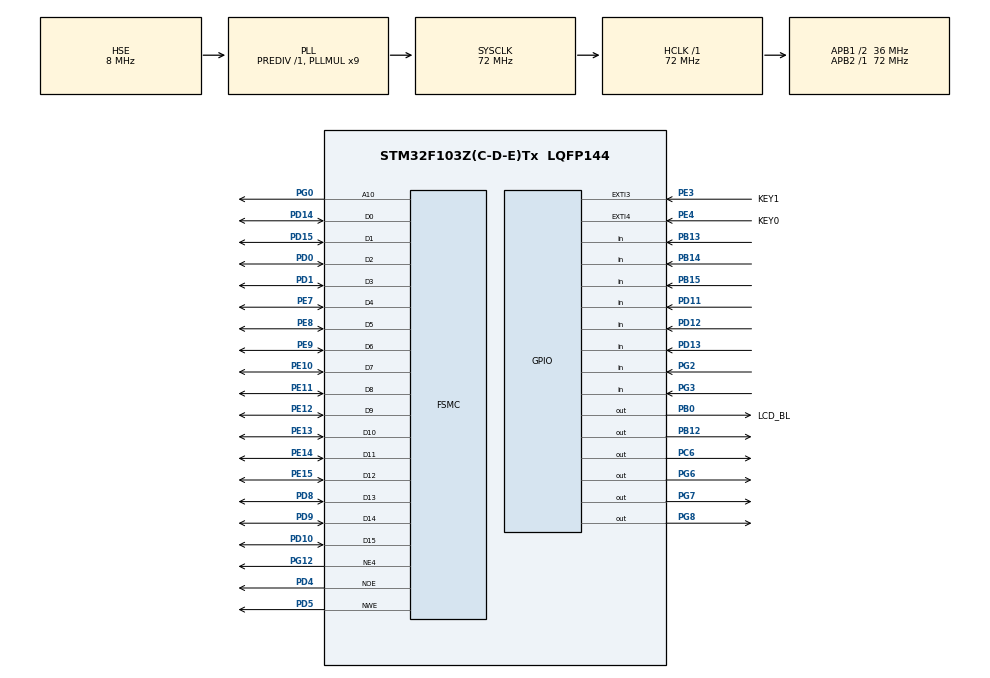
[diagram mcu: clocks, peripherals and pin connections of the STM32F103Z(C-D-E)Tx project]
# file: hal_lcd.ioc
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FSMC.AddressSetupTime4=2
FSMC.BusTurnAroundDuration4=0
FSMC.DataSetupTime4=16
FSMC.ExtendedAddressSetupTime4=4
FSMC.ExtendedBusTurnAroundDuration4=0
FSMC.ExtendedDataSetupTime4=9
FSMC.ExtendedMode4=FSMC_EXTENDED_MODE_ENABLE
Mcu.Family=STM32F1
Mcu.Name=STM32F103Z(C-D-E)Tx
Mcu.Package=LQFP144
NVIC.EXTI3_IRQn=true\:6\:0\:true\:false\:true\:true\:true\:true
NVIC.EXTI4_IRQn=true\:5\:0\:true\:false\:true\:true\:true\:true
NVIC.PriorityGroup=NVIC_PRIORITYGROUP_4
OSC_IN.Mode=HSE-External-Oscillator
OSC_IN.Signal=RCC_OSC_IN
OSC_OUT.Mode=HSE-External-Oscillator
OSC_OUT.Signal=RCC_OSC_OUT
PA13.Mode=Serial_Wire
PA13.Signal=SYS_JTMS-SWDIO
PA14.Mode=Serial_Wire
PA14.Signal=SYS_JTCK-SWCLK
PB0.GPIO_Label=LCD_BL
PB0.GPIO_PuPd=GPIO_PULLDOWN
PB0.Signal=GPIO_Output
PB12.Signal=GPIO_Output
PB13.Signal=GPIO_Input
PB14.Signal=GPIO_Input
PB15.Signal=GPIO_Input
PC14-OSC32_IN.Mode=LSE-External-Oscillator
PC14-OSC32_IN.Signal=RCC_OSC32_IN
PC15-OSC32_OUT.Mode=LSE-External-Oscillator
PC15-OSC32_OUT.Signal=RCC_OSC32_OUT
PC6.Signal=GPIO_Output
PD0.Signal=FSMC_D2_DA2
PD1.Signal=FSMC_D3_DA3
PD10.Signal=FSMC_D15_DA15
PD11.Signal=GPIO_Input
PD12.Signal=GPIO_Input
PD13.Signal=GPIO_Input
PD14.Signal=FSMC_D0_DA0
PD15.Signal=FSMC_D1_DA1
PD4.Signal=FSMC_NOE
PD5.Signal=FSMC_NWE
PD8.Signal=FSMC_D13_DA13
PD9.Signal=FSMC_D14_DA14
PE10.Signal=FSMC_D7_DA7
PE11.Signal=FSMC_D8_DA8
PE12.Signal=FSMC_D9_DA9
PE13.Signal=FSMC_D10_DA10
PE14.Signal=FSMC_D11_DA11
PE15.Signal=FSMC_D12_DA12
PE3.GPIO_Label=KEY1
PE3.GPIO_ModeDefaultEXTI=GPIO_MODE_IT_FALLING
PE3.GPIO_PuPd=GPIO_PULLUP
PE3.Signal=GPXTI3
PE4.GPIO_Label=KEY0
PE4.GPIO_ModeDefaultEXTI=GPIO_MODE_IT_FALLING
PE4.GPIO_PuPd=GPIO_PULLUP
PE4.Signal=GPXTI4
PE7.Signal=FSMC_D4_DA4
PE8.Signal=FSMC_D5_DA5
PE9.Signal=FSMC_D6_DA6
PG0.Signal=FSMC_A10
PG12.Mode=NorPsramChipSelect4_4
PG12.Signal=FSMC_NE4
PG2.Signal=GPIO_Input
PG3.Signal=GPIO_Input
PG6.Signal=GPIO_Output
PG7.Signal=GPIO_Output
PG8.Signal=GPIO_Output
ProjectManager.HeapSize=0x200
ProjectManager.StackSize=0x400
ProjectManager.TargetToolchain=MDK-ARM V5.27
RCC.AHBFreq_Value=72000000
RCC.APB1CLKDivider=RCC_HCLK_DIV2
RCC.APB1Freq_Value=36000000
RCC.APB1TimFreq_Value=72000000
RCC.APB2Freq_Value=72000000
RCC.APB2TimFreq_Value=72000000
RCC.EnbaleCSS=true
RCC.HCLKFreq_Value=72000000
RCC.PLLMUL=RCC_PLL_MUL9
RCC.PLLSourceVirtual=RCC_PLLSOURCE_HSE
RCC.SYSCLKFreq_VALUE=72000000
RCC.SYSCLKSource=RCC_SYSCLKSOURCE_PLLCLK
RCC.USBFreq_Value=72000000
SH.FSMC_A10.0=FSMC_A10,A10_4
SH.FSMC_D0_DA0.0=FSMC_D0,16b-d4
SH.FSMC_D10_DA10.0=FSMC_D10,16b-d4
SH.FSMC_D11_DA11.0=FSMC_D11,16b-d4
SH.FSMC_D12_DA12.0=FSMC_D12,16b-d4
SH.FSMC_D13_DA13.0=FSMC_D13,16b-d4
SH.FSMC_D14_DA14.0=FSMC_D14,16b-d4
SH.FSMC_D15_DA15.0=FSMC_D15,16b-d4
SH.FSMC_D1_DA1.0=FSMC_D1,16b-d4
SH.FSMC_D2_DA2.0=FSMC_D2,16b-d4
SH.FSMC_D3_DA3.0=FSMC_D3,16b-d4
SH.FSMC_D4_DA4.0=FSMC_D4,16b-d4
SH.FSMC_D5_DA5.0=FSMC_D5,16b-d4
SH.FSMC_D6_DA6.0=FSMC_D6,16b-d4
SH.FSMC_D7_DA7.0=FSMC_D7,16b-d4
SH.FSMC_D8_DA8.0=FSMC_D8,16b-d4
SH.FSMC_D9_DA9.0=FSMC_D9,16b-d4
SH.FSMC_NOE.0=FSMC_NOE,Lcd4
SH.FSMC_NWE.0=FSMC_NWE,Lcd4
board=custom

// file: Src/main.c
/* USER CODE BEGIN Header */
/**
  ******************************************************************************
  * @file           : main.c
  * @brief          : Main program body
  ******************************************************************************
  * @attention
  *
  * <h2><center>&copy; Copyright (c) 2023 STMicroelectronics.
  * All rights reserved.</center></h2>
  *
  * This software component is licensed by ST under BSD 3-Clause license,
  * the "License"; You may not use this file except in compliance with the
  * License. You may obtain a copy of the License at:
  *                        opensource.org/licenses/BSD-3-Clause
  *
  ******************************************************************************
  */
#include "lcd.h"
/* USER CODE END Header */
#include "main.h"
#include "gpio.h"
#include "fsmc.h"

void SystemClock_Config(void);

/* USER CODE BEGIN 0 */
uint16_t FIFO00[601],FIFO01[601],Y=0,X=0;
/* USER CODE END 0 */

int main(void)
{

  /* USER CODE BEGIN 1 */
	uint16_t i,mid,vmid,y0=0,y1=0,j;
	float V0MAX,V0MIN,V1MAX,V1MIN;
  /* USER CODE END 1 */

  /* MCU Configuration--------------------------------------------------------*/

  /* Reset of all peripherals, Initializes the Flash interface and the Systick. */
  HAL_Init();

  /* Configure the system clock */
  SystemClock_Config();

  /* Initialize all configured peripherals */
  MX_GPIO_Init();
  MX_FSMC_Init();
  /* USER CODE BEGIN 2 */
	LCD_Init();
	LCD_Display_Dir(1);
	HAL_GPIO_WritePin(LCD_BL_GPIO_Port, LCD_BL_Pin,GPIO_PIN_SET);
	LCD_Fill(0,0,600,480,0x0000);
	POINT_COLOR =WHITE;
	LCD_DrawLine(0,240,600,240);
	LCD_DrawLine(300,0,300,480);
	POINT_COLOR =GRAY;
	LCD_DrawLine(0,420,600,420);
	LCD_DrawLine(0,360,600,360);
	LCD_DrawLine(0,300,600,300);
	LCD_DrawLine(0,180,600,180);
	LCD_DrawLine(0,120,600,120);
	LCD_DrawLine(0,60,600,60);

	LCD_DrawLine(540,0,540,480);
	LCD_DrawLine(480,0,480,480);
	LCD_DrawLine(420,0,420,480);
	LCD_DrawLine(360,0,360,480);
	LCD_DrawLine(240,0,240,480);
	LCD_DrawLine(180,0,180,480);
	LCD_DrawLine(120,0,120,480);
	LCD_DrawLine(60,0,60,480);
//	POINT_COLOR =RED;
//	LCD_ShowString(620,0,240,24,24,"Frequency:");
//	LCD_ShowString(620,30,240,24,24,"499.85KHz");
//	LCD_ShowString(620,60,240,24,24,"V+max:");
//	LCD_ShowString(620,90,240,24,24,"+495mV");
//	LCD_ShowString(620,120,240,24,24,"V-max:");
//	LCD_ShowString(620,150,240,24,24,"-496mV");
  /* USER CODE END 2 */

  /* Infinite loop */
  while (1)
  {

    /* USER CODE BEGIN 3 */
		y1=Y;
		POINT_COLOR =WHITE;
		LCD_DrawLine(0,240,600,240);
		LCD_DrawLine(300,0,300,480);
		HAL_GPIO_WritePin(GPIOG,GPIO_PIN_6,GPIO_PIN_SET);
		HAL_GPIO_WritePin(GPIOG,GPIO_PIN_7,GPIO_PIN_SET);
		POINT_COLOR =GRAY;
		LCD_DrawLine(0,420,600,420);
		LCD_DrawLine(0,360,600,360);
		LCD_DrawLine(0,300,600,300);
		LCD_DrawLine(0,180,600,180);
		LCD_DrawLine(0,120,600,120);
		LCD_DrawLine(0,60,600,60);

		LCD_DrawLine(540,0,540,480);
		LCD_DrawLine(480,0,480,480);
		LCD_DrawLine(420,0,420,480);
		LCD_DrawLine(360,0,360,480);
		LCD_DrawLine(240,0,240,480);
		LCD_DrawLine(180,0,180,480);
		LCD_DrawLine(120,0,120,480);
		LCD_DrawLine(60,0,60,480);
		if(Y==0) LCD_ShowString(620,420,240,24,24,"   1V");
		else if(Y==1) LCD_ShowString(620,420,240,24,24,"500mV");
		if(X==0) LCD_ShowString(620,450,240,24,24,"1.6nS");
		else if(X==1) LCD_ShowString(620,450,240,24,24,"0.8nS");
		HAL_GPIO_WritePin(GPIOC,GPIO_PIN_6,GPIO_PIN_RESET);
		HAL_GPIO_WritePin(GPIOG,GPIO_PIN_8,GPIO_PIN_SET);
		V1MAX=0;
		V1MIN=255;
		j=0;
		for(i=0;i<1202;i++){
			POINT_COLOR =BLACK;
			if(j>=3){
				if(y0==0) LCD_DrawLine(j-2,240+(mid-127)*1.88,j-1,240+(FIFO01[j]-127)*1.88);
				if(y0==1) LCD_DrawLine(j-2,240+(mid-127)*3.76,j-1,240+(FIFO01[j]-127)*3.76);
			}
			if(X==1){
				mid=FIFO01[j];
				HAL_GPIO_WritePin(GPIOB,GPIO_PIN_12,GPIO_PIN_SET);
				FIFO01[j]=HAL_GPIO_ReadPin(GPIOB, GPIO_PIN_13)*128;
				FIFO01[j]=FIFO01[j]+HAL_GPIO_ReadPin(GPIOB, GPIO_PIN_14)*64;
				FIFO01[j]=FIFO01[j]+HAL_GPIO_ReadPin(GPIOB, GPIO_PIN_15)*32;
				FIFO01[j]=FIFO01[j]+HAL_GPIO_ReadPin(GPIOD, GPIO_PIN_11)*16;
				HAL_GPIO_WritePin(GPIOB,GPIO_PIN_12,GPIO_PIN_RESET);
				FIFO01[j]=FIFO01[j]+HAL_GPIO_ReadPin(GPIOD, GPIO_PIN_12)*8;
				FIFO01[j]=FIFO01[j]+HAL_GPIO_ReadPin(GPIOD, GPIO_PIN_13)*4;
				FIFO01[j]=FIFO01[j]+HAL_GPIO_ReadPin(GPIOG, GPIO_PIN_2)*2;
				FIFO01[j]=FIFO01[j]+HAL_GPIO_ReadPin(GPIOG, GPIO_PIN_3)*1;
			}
			if(X==0)mid=FIFO01[j];
			HAL_GPIO_WritePin(GPIOB,GPIO_PIN_12,GPIO_PIN_SET);
			FIFO01[j]=HAL_GPIO_ReadPin(GPIOB, GPIO_PIN_13)*128;
			FIFO01[j]=FIFO01[j]+HAL_GPIO_ReadPin(GPIOB, GPIO_PIN_14)*64;
			FIFO01[j]=FIFO01[j]+HAL_GPIO_ReadPin(GPIOB, GPIO_PIN_15)*32;
			FIFO01[j]=FIFO01[j]+HAL_GPIO_ReadPin(GPIOD, GPIO_PIN_11)*16;
			HAL_GPIO_WritePin(GPIOB,GPIO_PIN_12,GPIO_PIN_RESET);
			FIFO01[j]=FIFO01[j]+HAL_GPIO_ReadPin(GPIOD, GPIO_PIN_12)*8;
			FIFO01[j]=FIFO01[j]+HAL_GPIO_ReadPin(GPIOD, GPIO_PIN_13)*4;
			FIFO01[j]=FIFO01[j]+HAL_GPIO_ReadPin(GPIOG, GPIO_PIN_2)*2;
			FIFO01[j]=FIFO01[j]+HAL_GPIO_ReadPin(GPIOG, GPIO_PIN_3)*1;
			if(j==601) break;
			if(FIFO01[j]>V1MAX) V1MAX=FIFO01[j];
			if(FIFO01[j]<V1MIN) V1MIN=FIFO01[j];
			POINT_COLOR =GREEN;
			if(j>=3){
				if(y1==0) LCD_DrawLine(j-2,240+(FIFO01[j-1]-127)*1.88,j-1,240+(FIFO01[j]-127)*1.88);
				if(y1==1) LCD_DrawLine(j-2,240+(FIFO01[j-1]-127)*3.76,j-1,240+(FIFO01[j]-127)*3.76);
			}
			j++;
			if(j==601) break;
		}
		POINT_COLOR =GREEN;
		V1MAX=(V1MAX-127)/1700;
		V1MIN=(V1MIN-127)/1700;
		LCD_ShowString(620,240,240,24,24,"V+max:");
		if(V1MAX<0) LCD_ShowString(620,270,240,24,24,"-");
		for(i=0;i<6;i++){
			if(i==2) LCD_ShowString(665,270,240,24,24,".");
			else {
				V1MAX*=10;
				vmid=V1MAX;
				LCD_ShowxNum(635+i*15,270,vmid,1,24,0);
			}
		}
		LCD_ShowString(620,300,240,24,24,"V-max:");
		if(V1MIN<0) LCD_ShowString(620,330,240,24,24,"-");
		for(i=0;i<6;i++){
			if(i==2) LCD_ShowString(665,330,240,24,24,".");
			else {
				V1MIN*=10;
				vmid=V1MIN;
				LCD_ShowxNum(635+i*15,330,vmid,1,24,0);
			}
		}

		HAL_GPIO_WritePin(GPIOC,GPIO_PIN_6,GPIO_PIN_RESET);
		HAL_GPIO_WritePin(GPIOG,GPIO_PIN_8,GPIO_PIN_RESET);
		mid=FIFO00[1];
		V0MAX=0;
		V0MIN=255;
		j=0;
		for(i=0;i<1202;i++){
			POINT_COLOR =BLACK;
			if(j>=3){
				if(y0==0) LCD_DrawLine(j-2,240+(mid-127)*1.88,j-1,240+(FIFO00[j]-127)*1.88);
				if(y0==1) LCD_DrawLine(j-2,240+(mid-127)*3.76,j-1,240+(FIFO00[j]-127)*3.76);
			}
			if(X==1){
				mid=FIFO00[j];
				HAL_GPIO_WritePin(GPIOB,GPIO_PIN_12,GPIO_PIN_SET);
				FIFO00[j]=HAL_GPIO_ReadPin(GPIOB, GPIO_PIN_13)*128;
				FIFO00[j]=FIFO01[j]+HAL_GPIO_ReadPin(GPIOB, GPIO_PIN_14)*64;
				FIFO00[j]=FIFO01[j]+HAL_GPIO_ReadPin(GPIOB, GPIO_PIN_15)*32;
				FIFO00[j]=FIFO01[j]+HAL_GPIO_ReadPin(GPIOD, GPIO_PIN_11)*16;
				HAL_GPIO_WritePin(GPIOB,GPIO_PIN_12,GPIO_PIN_RESET);
				FIFO00[j]=FIFO00[j]+HAL_GPIO_ReadPin(GPIOD, GPIO_PIN_12)*8;
				FIFO00[j]=FIFO00[j]+HAL_GPIO_ReadPin(GPIOD, GPIO_PIN_13)*4;
				FIFO00[j]=FIFO00[j]+HAL_GPIO_ReadPin(GPIOG, GPIO_PIN_2)*2;
				FIFO00[j]=FIFO00[j]+HAL_GPIO_ReadPin(GPIOG, GPIO_PIN_3)*1;
			}
			if(X==0)mid=FIFO00[j];
			HAL_GPIO_WritePin(GPIOB,GPIO_PIN_12,GPIO_PIN_SET);
			FIFO00[j]=HAL_GPIO_ReadPin(GPIOB, GPIO_PIN_13)*128;
			FIFO00[j]=FIFO00[j]+HAL_GPIO_ReadPin(GPIOB, GPIO_PIN_14)*64;
			FIFO00[j]=FIFO00[j]+HAL_GPIO_ReadPin(GPIOB, GPIO_PIN_15)*32;
			FIFO00[j]=FIFO00[j]+HAL_GPIO_ReadPin(GPIOD, GPIO_PIN_11)*16;
			HAL_GPIO_WritePin(GPIOB,GPIO_PIN_12,GPIO_PIN_RESET);
			FIFO00[j]=FIFO00[j]+HAL_GPIO_ReadPin(GPIOD, GPIO_PIN_12)*8;
			FIFO00[j]=FIFO00[j]+HAL_GPIO_ReadPin(GPIOD, GPIO_PIN_13)*4;
			FIFO00[j]=FIFO00[j]+HAL_GPIO_ReadPin(GPIOG, GPIO_PIN_2)*2;
			FIFO00[j]=FIFO00[j]+HAL_GPIO_ReadPin(GPIOG, GPIO_PIN_3)*1;
			if(FIFO00[j]>V0MAX) V0MAX=FIFO00[j];
			if(FIFO00[j]<V0MIN) V0MIN=FIFO00[j];
			POINT_COLOR =RED;
			if(j>=3){
				if(y1==0) LCD_DrawLine(j-2,240+(FIFO00[j-1]-127)*1.88,j-1,240+(FIFO00[j]-127)*1.88);
				if(y1==1) LCD_DrawLine(j-2,240+(FIFO00[j-1]-127)*3.76,j-1,240+(FIFO00[j]-127)*3.76);
			}
			j++;
			if(j==601) break;
		}
		POINT_COLOR =RED;
		V0MAX=(V0MAX-127)/1700;
		V0MIN=(V0MIN-127)/1700;
		LCD_ShowString(620,60,240,24,24,"V+max:");
		if(V0MAX<0) LCD_ShowString(620,90,240,24,24,"-");
		for(i=0;i<6;i++){
			if(i==2) LCD_ShowString(665,90,240,24,24,".");
			else {
				V0MAX*=10;
				vmid=V0MAX;
				LCD_ShowxNum(635+i*15,90,vmid,1,24,0);
			}
		}
		LCD_ShowString(620,120,240,24,24,"V-max:");
		if(V0MIN<0) LCD_ShowString(620,150,240,24,24,"-");
		for(i=0;i<6;i++){
			if(i==2) LCD_ShowString(665,150,240,24,24,".");
			else {
				V0MIN*=10;
				vmid=V0MIN;
				LCD_ShowxNum(635+i*15,150,vmid,1,24,0);
			}
		}
		y0=y1;
		HAL_GPIO_WritePin(GPIOG,GPIO_PIN_6,GPIO_PIN_RESET);
		HAL_GPIO_WritePin(GPIOG,GPIO_PIN_7,GPIO_PIN_RESET);
	}
  /* USER CODE END 3 */
}

void SystemClock_Config(void)
{
  RCC_OscInitTypeDef RCC_OscInitStruct = {0};
  RCC_ClkInitTypeDef RCC_ClkInitStruct = {0};

  /** Initializes the RCC Oscillators according to the specified parameters
  * in the RCC_OscInitTypeDef structure.
  */
  RCC_OscInitStruct.OscillatorType = RCC_OSCILLATORTYPE_HSE;
  RCC_OscInitStruct.HSEState = RCC_HSE_ON;
  RCC_OscInitStruct.HSEPredivValue = RCC_HSE_PREDIV_DIV1;
  RCC_OscInitStruct.HSIState = RCC_HSI_ON;
  RCC_OscInitStruct.PLL.PLLState = RCC_PLL_ON;
  RCC_OscInitStruct.PLL.PLLSource = RCC_PLLSOURCE_HSE;
  RCC_OscInitStruct.PLL.PLLMUL = RCC_PLL_MUL9;
  if (HAL_RCC_OscConfig(&RCC_OscInitStruct) != HAL_OK)
  {
    Error_Handler();
  }

  /** Initializes the CPU, AHB and APB buses clocks
  */
  RCC_ClkInitStruct.ClockType = RCC_CLOCKTYPE_HCLK|RCC_CLOCKTYPE_SYSCLK
                              |RCC_CLOCKTYPE_PCLK1|RCC_CLOCKTYPE_PCLK2;
  RCC_ClkInitStruct.SYSCLKSource = RCC_SYSCLKSOURCE_PLLCLK;
  RCC_ClkInitStruct.AHBCLKDivider = RCC_SYSCLK_DIV1;
  RCC_ClkInitStruct.APB1CLKDivider = RCC_HCLK_DIV2;
  RCC_ClkInitStruct.APB2CLKDivider = RCC_HCLK_DIV1;

  if (HAL_RCC_ClockConfig(&RCC_ClkInitStruct, FLASH_LATENCY_2) != HAL_OK)
  {
    Error_Handler();
  }

  /** Enables the Clock Security System
  */
  HAL_RCC_EnableCSS();
}

/* USER CODE BEGIN 4 */
void HAL_GPIO_EXTI_Callback(uint16_t GPIO_Pin)
{
	if(GPIO_Pin == GPIO_PIN_4)
	{
		HAL_Delay(5);	//????
    HAL_Delay(5);	//????
		Y++;
		if(Y==2) Y=0;
	}	if(GPIO_Pin == GPIO_PIN_3)
	{
		HAL_Delay(5);	//????
    HAL_Delay(5);	//????
		X++;
		if(X==2) X=0;
	}
}
/* USER CODE END 4 */

void Error_Handler(void)
{
  __disable_irq();
  while (1)
  {
  }
}
